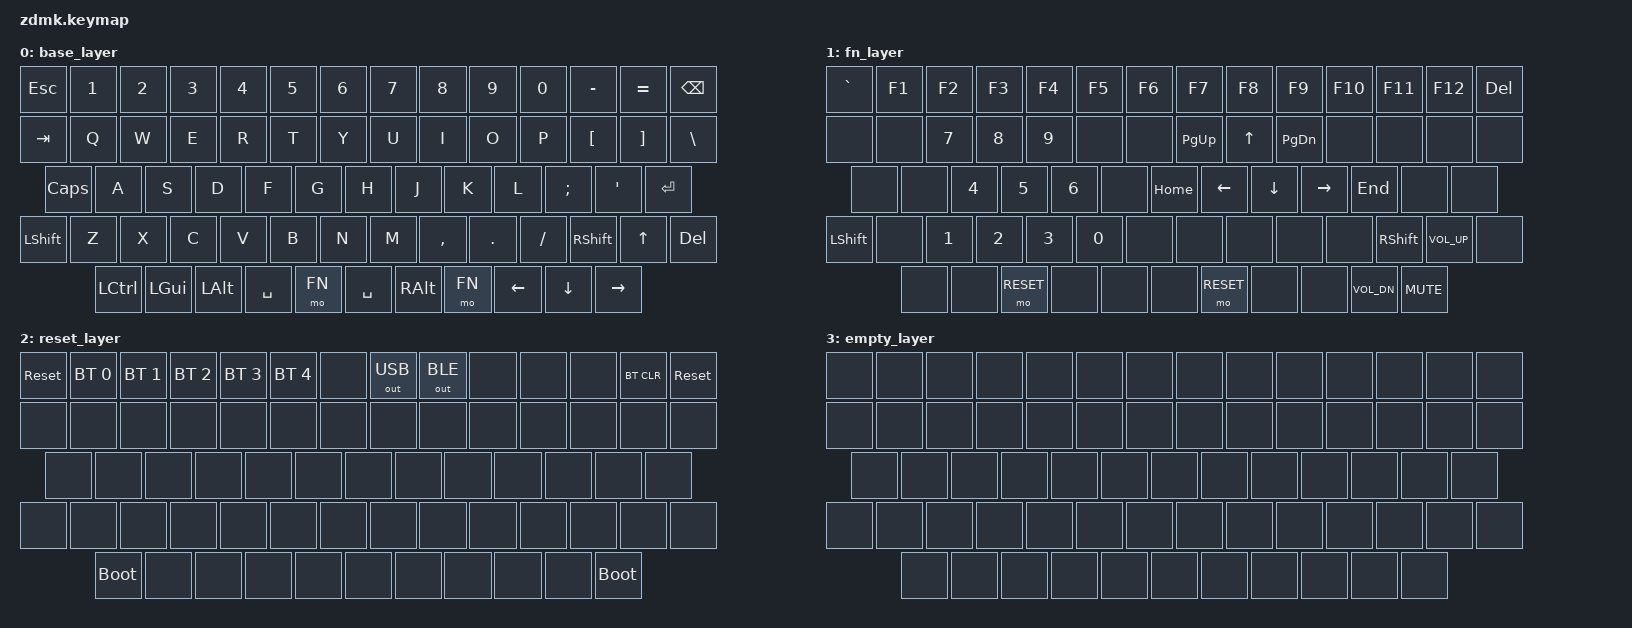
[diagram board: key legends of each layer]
/*
 * Copyright (c) 2020 The ZMK Contributors
 *
 * SPDX-License-Identifier: MIT
 */

#include <behaviors.dtsi>
#include <dt-bindings/zmk/keys.h>
#include <dt-bindings/zmk/bt.h>
#include <dt-bindings/zmk/outputs.h>


&mt {
  flavor = "tap-preferred";
  tapping_term_ms = <200>;
};

/ { 
#define BASE 0
#define FN 1
#define RESET 2
#define EMPTY 3

combos {
    compatible = "zmk,combos";
    
    combo_caps {
        layers = <0>;
        timeout-ms = <50>;
        key-positions = <14 15>;
        bindings = <&caps_word>;
    };
    

    
};



        keymap {
                compatible = "zmk,keymap";
                
       		base_layer {
		        bindings = <              
				&kp ESC   	&kp N1    &kp N2    &kp N3     &kp N4    &kp N5  &kp N6           &kp N7  &kp N8  &kp N9  &kp N0  &kp MINUS  &kp EQUAL &kp BSPC
				&kp TAB  	 &kp Q     &kp W     &kp E      &kp R     &kp T              &kp Y   &kp U   &kp I   &kp O   &kp P   &kp LBKT  &kp RBKT &kp BSLH
				&kp CAPS  	&kp A     &kp S     &kp D      &kp F     &kp G                     &kp H   &kp J    &kp K   &kp L   &kp SEMI  &kp APOS  &kp ENTER
				&kp LSHFT 	&kp Z     &kp X     &kp C      &kp V     &kp B                     &kp N   &kp M   &kp COMMA  &kp DOT &kp FSLH  &kp RSHFT &kp UP &kp DEL
				&kp LCTRL &kp LGUI  &kp LALT  &kp SPACE  &mo FN                          	 &kp SPACE   		&kp RALT  &mo FN        &kp LEFT &kp DOWN  &kp RIGHT
		        >;
		};

		fn_layer {
		        bindings = <              
				&kp GRAVE   &kp F1    &kp F2    &kp F3     &kp F4    &kp F5  &kp F6           &kp F7  &kp F8  &kp F9  &kp F10  &kp F11  &kp F12  &kp DEL
				&none   &none     &kp N7     &kp N8      &kp N9     &none              		&none   &kp PG_UP   &kp UP   &kp PG_DN   &none   &none  &none  &none
				&none  &none     &kp N4     &kp N5      &kp N6    &none                    	 &kp HOME   &kp LEFT   &kp DOWN  &kp RIGHT   &kp END  &none  &none
				&kp LSHFT  &none     &kp N1     &kp N2      &kp N3     &kp N0                     &none   &none   &none  &none &none  &kp RSHFT &kp C_VOL_UP &none
				&none  &none  &mo RESET  &none  &none                                         &none   &mo RESET  &none &none &kp C_VOL_DN  &kp C_MUTE 
		        >;
		};

		reset_layer {
		        bindings = <              
				&sys_reset  &bt BT_SEL 0  &bt BT_SEL 1  &bt BT_SEL 2  &bt BT_SEL 3  &bt BT_SEL 4  &none           &out OUT_USB  &out OUT_BLE  &none  &none  &none  &bt BT_CLR  &sys_reset
				&none   &none     &none     &none      &none     &none              		&none   &none   &none   &none   &none   &none  &none  &none
				&none  &none     &none     &none      &none     &none                    	 &none   &none   &none  &none   &none  &none  &none
				&none  &none     &none     &none      &none     &none                    	 &none   &none   &none  &none &none  &none &none &none
				&bootloader  &none  &none  &none  &none                                         &none   &none  &none &none &none  &bootloader 
		        >;
		};

		empty_layer {
		        bindings = <              
				&none   &none    &none    &none     &none    &none  &none           &none  &none  &none  &none  &none  &none  &none
				&none   &none     &none     &none      &none     &none              &none   &none   &none   &none   &none   &none  &none  &none
				&none  &none     &none     &none      &none     &none                     &none   &none   &none  &none   &none  &none  &none
				&none  &none     &none     &none      &none     &none                     &none   &none   &none  &none &none  &none &none &none
				&none  &none  &none  &none  &none                                         &none   &none  &none &none &none  &none 
		        >;
		};
        
	};
};
